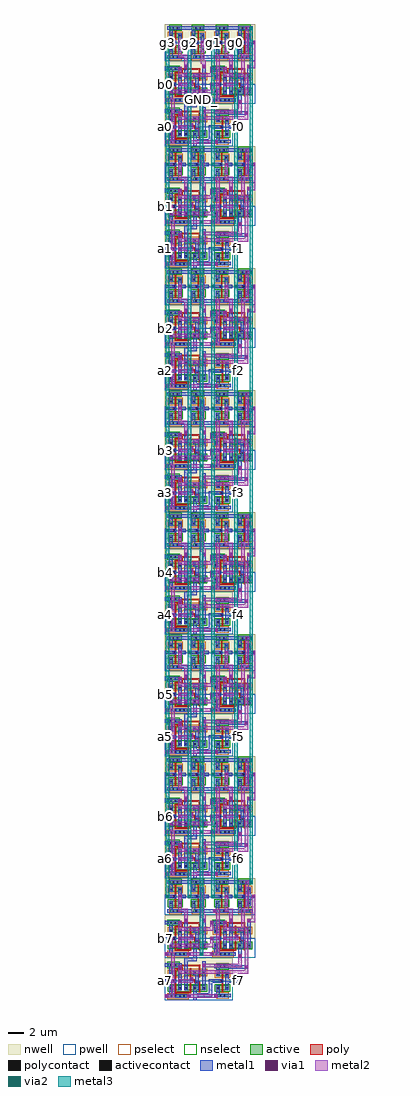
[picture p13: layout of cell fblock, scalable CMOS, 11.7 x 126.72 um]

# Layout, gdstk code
from math import pi, radians
import gdstk
lib = gdstk.Library(unit=1e-6, precision=1e-09)
def R(c, l, rs):  # rectangles x0, y0, x1, y1
    for r in rs: c.add(gdstk.rectangle(r[:2], r[2:], *l))
def A(c, l, x, y, w, h, nx, ny, dx, dy):  # array of equal rectangles
    R(c, l, [(x+i*dx, y+j*dy, x+i*dx+w, y+j*dy+h) for i in range(nx) for j in range(ny)])
pwell = (41, 0)
nwell = (42, 0)
active = (43, 0)
pselect = (44, 0)
nselect = (45, 0)
poly = (46, 0)
polycontact = (47, 0)
activecontact = (48, 0)
metal1 = (49, 0)
via1 = (50, 0)
metal2 = (51, 0)
via2 = (61, 0)
metal3 = (62, 0)

inv = lib.new_cell('inv')
R(inv, pwell, [(-0.9,-1.17,1.8,1.17)])
R(inv, nwell, [(-0.9,1.26,1.8,3.6)])
R(inv, active, [(-0.18,-0.9,1.08,-0.45), (-0.36,0,1.26,0.63), (-0.36,1.8,1.26,2.43), (-0.18,2.88,1.08,3.33)])
R(inv, pselect, [(-0.36,-1.08,1.26,-0.27), (-0.54,1.62,1.44,2.61)])
R(inv, nselect, [(-0.54,-0.18,1.44,0.81), (-0.36,2.7,1.26,3.51)])
R(inv, poly, [(0.36,-0.27,0.54,0.99), (0.09,0.99,0.54,1.44), (0.36,1.44,0.54,2.7)])
R(inv, polycontact, [(0.225,1.125,0.405,1.305)])
R(inv, activecontact, [(0.09,-0.765,0.27,-0.585), (0.63,-0.765,0.81,-0.585), (-0.225,0.225,-0.045,0.405), (0.945,0.225,1.125,0.405), (-0.225,2.025,-0.045,2.205), (0.945,2.025,1.125,2.205), (0.09,3.015,0.27,3.195), (0.63,3.015,0.81,3.195)])
R(inv, metal1, [(-0.63,-0.9,1.53,-0.45), (-0.36,-0.45,0.09,0.63), (0.81,0,1.26,0.99), (-0.9,0.99,0.54,1.44), (0.81,0.99,1.8,1.44), (0.81,1.44,1.26,2.43), (-0.36,1.8,0.09,2.88), (-0.63,2.88,1.53,3.33)])
inv.add(gdstk.Label('in', (-0.9,1.215), layer=49, texttype=0))
inv.add(gdstk.Label('out', (1.8,1.215), layer=49, texttype=0))
inv.add(gdstk.Label('Vdd_', (-0.45,3.06), layer=49, texttype=0))
inv.add(gdstk.Label('GND_', (-0.45,-0.63), layer=49, texttype=0))

c_2mux_nr = lib.new_cell('2mux_nr')
R(c_2mux_nr, pwell, [(0.09,-3.42,2.61,2.43)])
R(c_2mux_nr, nwell, [(-2.88,-3.42,0.09,2.43)])
R(c_2mux_nr, active, [(-1.26,-2.88,-0.63,-0.09), (0.72,-2.88,1.35,-0.09), (1.89,-0.45,2.34,1.98), (-1.17,0.27,-0.54,1.89), (0.72,0.27,1.35,1.89), (-2.16,0.72,-1.71,1.98)])
R(c_2mux_nr, pselect, [(-1.44,-3.06,-0.45,0.09), (1.71,-0.63,2.52,2.16), (-1.35,0.09,-0.36,2.07)])
R(c_2mux_nr, nselect, [(0.54,-3.06,1.53,2.07), (-2.34,0.54,-1.53,2.16)])
R(c_2mux_nr, poly, [(-1.98,-2.16,-0.36,-1.98), (0.27,-2.16,1.62,-1.98), (-1.98,-1.98,-1.8,0.09), (0.27,-1.98,0.45,-1.53), (-0.09,-1.53,0.45,-1.35), (-0.09,-1.35,0.09,-1.26), (-0.36,-1.26,0.09,-0.99), (-1.53,-0.99,0.09,-0.81), (0.45,-0.99,1.71,-0.81), (1.53,-0.81,1.71,0.99), (-1.98,0.09,-1.35,0.27), (-1.53,0.27,-1.35,0.99), (-1.53,0.99,1.71,1.17), (-0.09,1.17,0.36,1.44)])
R(c_2mux_nr, polycontact, [(-0.225,-1.125,-0.045,-0.945), (0.045,1.125,0.225,1.305)])
A(c_2mux_nr, activecontact, -1.035, -2.745, 0.18, 0.18, 1, 3, 0, 1.17)
A(c_2mux_nr, activecontact, 0.945, -2.745, 0.18, 0.18, 1, 3, 0, 1.17)
A(c_2mux_nr, activecontact, 2.025, -0.135, 0.18, 0.18, 1, 4, 0, 0.54)
R(c_2mux_nr, activecontact, [(-0.945,0.405,-0.765,0.585), (0.945,0.405,1.125,0.585), (-2.025,0.99,-1.845,1.17), (-2.025,1.53,-1.845,1.71), (-0.945,1.575,-0.765,1.755), (0.945,1.575,1.125,1.755)])
R(c_2mux_nr, metal1, [(-2.43,-2.88,1.35,-2.43), (-1.26,-1.98,1.35,-1.71), (-1.26,-1.71,2.61,-1.53), (-1.26,-1.53,-0.63,-1.26), (0.72,-1.53,2.61,-1.26), (-0.36,-1.26,0.09,-0.81), (1.89,-0.9,2.34,1.44), (-2.43,-0.54,1.35,-0.09), (-2.16,0.27,-1.71,1.44), (-1.17,0.27,1.35,0.72), (-0.09,0.99,0.36,2.43), (-2.16,1.44,-0.54,1.89), (0.72,1.44,2.34,1.89), (-2.16,1.89,-1.71,2.43), (1.89,1.89,2.34,2.43)])
R(c_2mux_nr, via1, [(-0.27,-1.17,0,-0.9), (0,0.36,0.27,0.63)])
R(c_2mux_nr, metal2, [(-0.36,-1.26,0.36,-0.81), (-0.09,-0.81,0.36,0.72)])
c_2mux_nr.add(gdstk.Label('s', (0.135,2.43), layer=49, texttype=0))
c_2mux_nr.add(gdstk.Label('GND_', (2.115,2.43), layer=49, texttype=0))
c_2mux_nr.add(gdstk.Label('out', (2.61,-1.485), layer=49, texttype=0))
c_2mux_nr.add(gdstk.Label('Vdd_', (-1.935,2.43), layer=49, texttype=0))
c_2mux_nr.add(gdstk.Label('in1', (-2.43,-0.315), layer=49, texttype=0))
c_2mux_nr.add(gdstk.Label('in0', (-2.43,-2.655), layer=49, texttype=0))

fblock_one = lib.new_cell('fblock_one')
R(fblock_one, pwell, [(5.4,-8.1,8.37,-7.38), (5.4,-7.38,5.67,-5.67), (-0.45,2.97,11.25,5.31)])
R(fblock_one, nwell, [(5.4,-5.58,5.67,-3.33), (5.4,-3.33,8.37,-2.61), (5.4,1.26,5.85,1.71), (-0.45,5.4,11.25,7.74)])
A(fblock_one, metal1, 2.52, 5.13, 0.99, 0.45, 3, 1, 3.06, 0)
R(fblock_one, metal1, [(-0.45,-7.83,0,-7.38), (2.43,-7.83,2.88,-7.38), (5.94,-7.83,6.39,-7.38), (3.24,-7.65,5.67,-7.2), (5.22,-7.2,5.67,-5.4), (-0.45,-5.85,0,-5.4), (1.26,-4.05,1.71,-3.6), (7.92,-4.05,10.35,-3.6), (2.07,-3.96,2.52,-3.06), (4.41,-3.87,4.86,-3.42), (2.07,-3.06,3.69,-2.61), (9.09,-2.61,9.54,-2.16), (-0.45,-2.34,0,-1.89), (2.43,-2.34,2.88,-1.89), (5.4,-2.34,5.85,-1.89), (-0.45,-0.36,0,0.09), (0.09,-0.36,0.54,0.09), (5.4,-0.36,5.85,0.09), (1.26,1.71,1.71,2.16), (5.4,1.71,5.85,2.16), (7.11,1.71,7.56,2.16), (2.07,1.98,2.52,2.43), (4.41,1.98,4.86,2.43), (7.92,1.98,8.37,2.43), (10.26,1.98,10.71,2.43), (1.8,3.24,2.97,3.69), (4.77,3.24,6.3,3.69), (7.83,3.24,9.09,3.69), (-0.45,5.13,0.54,5.58), (1.26,5.13,1.71,5.58), (4.23,5.13,4.68,5.58), (7.29,5.13,7.74,5.58), (10.26,5.13,11.25,5.58), (10.53,6.93,10.98,7.38), (1.8,7.02,3.06,7.47), (4.77,7.02,6.03,7.47), (7.83,7.02,9.09,7.47)])
R(fblock_one, via1, [(-0.36,-7.74,-0.09,-7.47), (2.52,-7.74,2.79,-7.47), (6.03,-7.74,6.3,-7.47), (1.35,-3.96,1.62,-3.69), (9.99,-3.96,10.26,-3.69), (4.5,-3.78,4.77,-3.51), (9.18,-2.52,9.45,-2.25), (-0.36,-2.25,-0.09,-1.98), (2.52,-2.25,2.79,-1.98), (5.49,-2.25,5.76,-1.98), (0.18,-0.27,0.45,0), (5.49,-0.27,5.76,0), (1.35,1.8,1.62,2.07), (5.49,1.8,5.76,2.07), (7.2,1.8,7.47,2.07), (2.16,2.07,2.43,2.34), (4.5,2.07,4.77,2.34), (8.01,2.07,8.28,2.34), (10.35,2.07,10.62,2.34), (5.94,3.33,6.21,3.6), (1.35,5.22,1.62,5.49), (4.32,5.22,4.59,5.49), (7.38,5.22,7.65,5.49), (10.89,5.22,11.16,5.49), (10.62,7.02,10.89,7.29)])
R(fblock_one, metal2, [(-0.45,-7.83,0.81,-7.38), (2.43,-7.83,6.39,-7.38), (0.36,-7.38,0.81,-2.34), (1.26,-4.68,10.35,-4.23), (1.26,-4.23,1.71,-3.6), (9.9,-4.23,10.35,0.9), (4.41,-3.87,9.54,-3.42), (9.09,-3.42,9.54,-2.16), (-0.45,-2.34,0.81,-1.89), (2.43,-2.34,6.66,-1.89), (6.21,-1.89,6.66,3.24), (0.09,-1.26,5.85,-0.81), (0.09,-0.81,0.54,0.09), (5.4,-0.81,5.85,0.09), (1.26,0.9,5.85,1.35), (7.11,0.9,10.35,1.35), (1.26,1.35,1.71,2.16), (5.4,1.35,5.85,2.16), (7.11,1.35,7.56,2.16), (9.45,1.35,9.9,3.42), (2.07,1.98,2.52,3.33), (4.41,1.98,4.86,2.61), (7.92,1.98,8.37,3.33), (10.26,1.98,11.25,2.43), (10.8,2.43,11.25,5.58), (4.23,2.61,4.86,3.06), (4.23,3.06,4.68,5.58), (5.85,3.24,6.66,3.69), (1.26,3.33,2.52,3.78), (7.29,3.33,8.37,3.78), (9.45,3.42,10.44,3.87), (1.26,3.78,1.71,5.58), (7.29,3.78,7.74,5.58), (9.99,3.87,10.44,6.93), (9.99,6.93,10.98,7.38)])
fblock_one.add(gdstk.Reference(inv, (6.48,4.14)))
fblock_one.add(gdstk.Reference(inv, (0.45,4.14)))
fblock_one.add(gdstk.Reference(inv, (9.45,4.14)))
fblock_one.add(gdstk.Reference(inv, (3.42,4.14)))
fblock_one.add(gdstk.Reference(inv, (6.57,-6.84)))
fblock_one.add(gdstk.Reference(c_2mux_nr, (7.83,0), rotation=3*pi/2, x_reflection=True))
fblock_one.add(gdstk.Reference(c_2mux_nr, (1.98,0), rotation=3*pi/2, x_reflection=True))
fblock_one.add(gdstk.Reference(c_2mux_nr, (1.98,-5.49), rotation=3*pi/2, x_reflection=True))
fblock_one.add(gdstk.Label('g3', (0,5.31), layer=49, texttype=0))
fblock_one.add(gdstk.Label('g2', (2.88,5.31), layer=49, texttype=0))
fblock_one.add(gdstk.Label('g1', (5.94,5.4), layer=49, texttype=0))
fblock_one.add(gdstk.Label('g0', (9.09,5.22), layer=49, texttype=0))
fblock_one.add(gdstk.Label('f', (8.19,-3.87), layer=49, texttype=0))
fblock_one.add(gdstk.Label('a', (-0.27,-5.67), layer=49, texttype=0))
fblock_one.add(gdstk.Label('b', (-0.27,-0.27), layer=49, texttype=0))
fblock_one.add(gdstk.Label('GND_', (2.88,3.42), layer=49, texttype=0))
fblock_one.add(gdstk.Label('Vdd_', (2.25,7.2), layer=49, texttype=0))

fblock = lib.new_cell('fblock')
A(fblock, metal1, 1.62, -218.7, 0.9, 0.45, 1, 8, 0, 15.84)
A(fblock, metal1, -7.11, -207.72, 0.45, 0.45, 1, 8, 0, 15.84)
A(fblock, metal1, -4.23, -207.72, 0.45, 0.45, 1, 8, 0, 15.84)
A(fblock, metal1, -1.17, -207.72, 0.45, 0.45, 1, 8, 0, 15.84)
A(fblock, metal1, 1.8, -207.72, 0.45, 0.45, 1, 8, 0, 15.84)
A(fblock, metal1, 3.78, -205.92, 0.45, 0.45, 1, 8, 0, 15.84)
R(fblock, metal1, [(-7.2,-218.7,-7.11,-218.25), (-7.2,-213.21,-7.11,-212.76), (-7.2,-202.86,-7.11,-202.41), (-7.2,-197.37,-7.11,-196.92), (-7.2,-187.02,-7.11,-186.57), (-7.2,-181.53,-7.11,-181.08), (-7.2,-171.18,-7.11,-170.73), (-7.2,-165.69,-7.11,-165.24), (-7.2,-155.34,-7.11,-154.89), (-7.2,-149.85,-7.11,-149.4), (-7.2,-139.5,-7.11,-139.05), (-7.2,-134.01,-7.11,-133.56), (-7.2,-123.66,-7.11,-123.21), (-7.2,-118.17,-7.11,-117.72), (-7.2,-107.82,-7.11,-107.37), (-7.2,-102.33,-7.11,-101.88)])
A(fblock, via1, -7.02, -207.63, 0.27, 0.27, 1, 8, 0, 15.84)
A(fblock, via1, -4.14, -207.63, 0.27, 0.27, 1, 8, 0, 15.84)
A(fblock, via1, -1.08, -207.63, 0.27, 0.27, 1, 8, 0, 15.84)
A(fblock, via1, 1.89, -207.63, 0.27, 0.27, 1, 8, 0, 15.84)
A(fblock, via1, 3.87, -205.83, 0.27, 0.27, 1, 8, 0, 15.84)
A(fblock, metal2, -2.7, -215.19, 0.45, 0.45, 1, 8, 0, 15.84)
A(fblock, metal2, -7.11, -207.72, 0.45, 0.45, 1, 8, 0, 15.84)
A(fblock, metal2, -4.23, -207.72, 0.45, 0.45, 1, 8, 0, 15.84)
A(fblock, metal2, -1.17, -207.72, 0.45, 0.45, 1, 8, 0, 15.84)
A(fblock, metal2, 1.8, -207.72, 0.45, 0.45, 1, 8, 0, 15.84)
A(fblock, metal2, 3.78, -205.92, 0.45, 0.45, 1, 8, 0, 15.84)
A(fblock, via2, -2.61, -215.1, 0.27, 0.27, 1, 8, 0, 15.84)
A(fblock, via2, -7.02, -207.63, 0.27, 0.27, 1, 8, 0, 15.84)
A(fblock, via2, -4.14, -207.63, 0.27, 0.27, 1, 8, 0, 15.84)
A(fblock, via2, -1.08, -207.63, 0.27, 0.27, 1, 8, 0, 15.84)
A(fblock, via2, 1.89, -207.63, 0.27, 0.27, 1, 8, 0, 15.84)
A(fblock, via2, 3.87, -205.83, 0.27, 0.27, 1, 8, 0, 15.84)
R(fblock, metal3, [(-2.7,-215.19,-2.25,-103.86), (-7.11,-207.72,-6.66,-96.39), (-4.23,-207.72,-3.78,-96.39), (-1.17,-207.72,-0.72,-96.39), (1.8,-207.72,2.25,-96.39), (3.78,-205.92,4.23,-94.59)])
fblock.add(gdstk.Reference(fblock_one, (-6.75,-101.97)))
fblock.add(gdstk.Reference(fblock_one, (-6.75,-117.81)))
fblock.add(gdstk.Reference(fblock_one, (-6.75,-133.65)))
fblock.add(gdstk.Reference(fblock_one, (-6.75,-149.49)))
fblock.add(gdstk.Reference(fblock_one, (-6.75,-165.33)))
fblock.add(gdstk.Reference(fblock_one, (-6.75,-181.17)))
fblock.add(gdstk.Reference(fblock_one, (-6.75,-197.01)))
fblock.add(gdstk.Reference(fblock_one, (-6.75,-212.85)))
fblock.add(gdstk.Label('g3', (-6.885,-96.615), layer=62, texttype=0))
fblock.add(gdstk.Label('g2', (-4.005,-96.615), layer=62, texttype=0))
fblock.add(gdstk.Label('g1', (-0.945,-96.615), layer=62, texttype=0))
fblock.add(gdstk.Label('g0', (2.025,-96.615), layer=62, texttype=0))
fblock.add(gdstk.Label('Vdd_', (4.005,-94.815), layer=62, texttype=0))
fblock.add(gdstk.Label('GND_', (-2.475,-104.085), layer=62, texttype=0))
fblock.add(gdstk.Label('b0', (-7.155,-102.105), layer=49, texttype=0))
fblock.add(gdstk.Label('a0', (-7.155,-107.595), layer=49, texttype=0))
fblock.add(gdstk.Label('a1', (-7.155,-123.435), layer=49, texttype=0))
fblock.add(gdstk.Label('a2', (-7.155,-139.275), layer=49, texttype=0))
fblock.add(gdstk.Label('a3', (-7.155,-155.115), layer=49, texttype=0))
fblock.add(gdstk.Label('a5', (-7.155,-186.795), layer=49, texttype=0))
fblock.add(gdstk.Label('a6', (-7.155,-202.635), layer=49, texttype=0))
fblock.add(gdstk.Label('a7', (-7.155,-218.475), layer=49, texttype=0))
fblock.add(gdstk.Label('a4', (-7.155,-170.955), layer=49, texttype=0))
fblock.add(gdstk.Label('b1', (-7.155,-117.945), layer=49, texttype=0))
fblock.add(gdstk.Label('b2', (-7.155,-133.785), layer=49, texttype=0))
fblock.add(gdstk.Label('b3', (-7.155,-149.625), layer=49, texttype=0))
fblock.add(gdstk.Label('b4', (-7.155,-165.465), layer=49, texttype=0))
fblock.add(gdstk.Label('b5', (-7.155,-181.305), layer=49, texttype=0))
fblock.add(gdstk.Label('b6', (-7.155,-197.145), layer=49, texttype=0))
fblock.add(gdstk.Label('b7', (-7.155,-212.985), layer=49, texttype=0))
fblock.add(gdstk.Label('f0', (2.385,-107.595), layer=49, texttype=0))
fblock.add(gdstk.Label('f1', (2.385,-123.435), layer=49, texttype=0))
fblock.add(gdstk.Label('f2', (2.385,-139.275), layer=49, texttype=0))
fblock.add(gdstk.Label('f3', (2.385,-155.115), layer=49, texttype=0))
fblock.add(gdstk.Label('f4', (2.385,-170.955), layer=49, texttype=0))
fblock.add(gdstk.Label('f5', (2.385,-186.795), layer=49, texttype=0))
fblock.add(gdstk.Label('f6', (2.385,-202.635), layer=49, texttype=0))
fblock.add(gdstk.Label('f7', (2.385,-218.475), layer=49, texttype=0))

lib.write_gds('fblock.gds')
